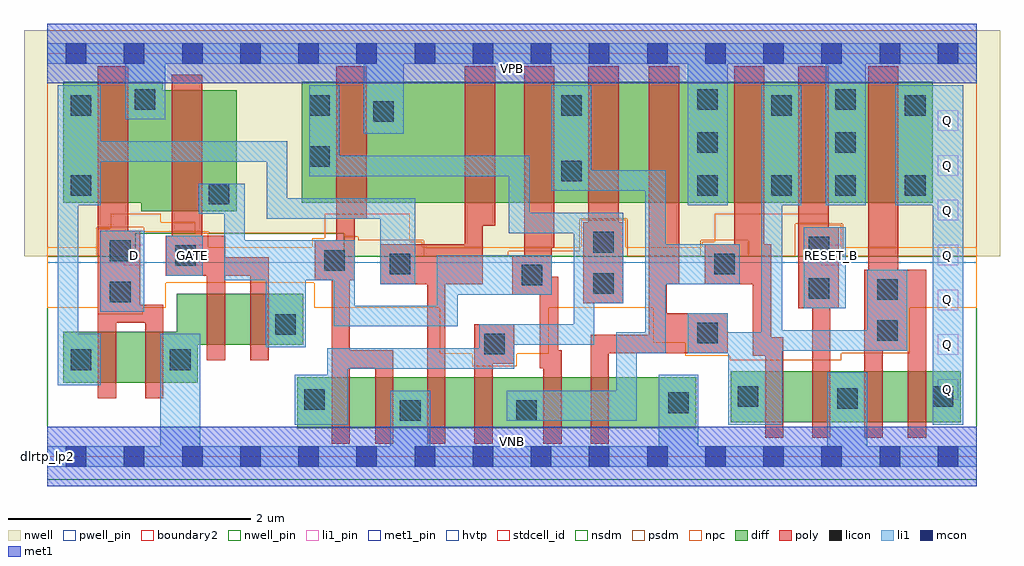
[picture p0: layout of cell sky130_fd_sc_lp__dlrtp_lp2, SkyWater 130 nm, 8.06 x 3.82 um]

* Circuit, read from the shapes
.subckt sky130_fd_sc_lp__dlrtp_lp2 D GATE Q RESET_B VGND VNB VPB VPWR
XM1 n1 D n2 VNB sky130_fd_pr__nfet_01v8 w=0.42 l=0.15
XM2 VGND D n1 VNB sky130_fd_pr__nfet_01v8 w=0.42 l=0.15
XM3 n3 GATE VGND VNB sky130_fd_pr__nfet_01v8 w=0.42 l=0.15
XM4 n4 GATE n3 VNB sky130_fd_pr__nfet_01v8 w=0.42 l=0.15
XM5 n5 n4 n6 VNB sky130_fd_pr__nfet_01v8 w=0.42 l=0.15
XM6 VGND n4 n5 VNB sky130_fd_pr__nfet_01v8 w=0.42 l=0.15
XM7 n7 n2 VGND VNB sky130_fd_pr__nfet_01v8 w=0.42 l=0.15
XM8 n8 n6 n7 VNB sky130_fd_pr__nfet_01v8 w=0.42 l=0.15
XM9 n9 n4 n8 VNB sky130_fd_pr__nfet_01v8 w=0.42 l=0.15
XM10 VGND n10 n9 VNB sky130_fd_pr__nfet_01v8 w=0.42 l=0.15
XM11 n11 n8 n10 VNB sky130_fd_pr__nfet_01v8 w=0.42 l=0.15
XM12 VGND RESET_B n11 VNB sky130_fd_pr__nfet_01v8 w=0.42 l=0.15
XM13 n12 n10 VGND VNB sky130_fd_pr__nfet_01v8 w=0.42 l=0.15
XM14 Q n10 n12 VNB sky130_fd_pr__nfet_01v8 w=0.42 l=0.15
XM15 VPWR D n2 VPB sky130_fd_pr__pfet_01v8_hvt w=1 l=0.25
XM16 n4 GATE VPWR VPB sky130_fd_pr__pfet_01v8_hvt w=1 l=0.25
XM17 VPWR n4 n6 VPB sky130_fd_pr__pfet_01v8_hvt w=1 l=0.25
XM18 n13 n2 VPWR VPB sky130_fd_pr__pfet_01v8_hvt w=1 l=0.25
XM19 n8 n4 n13 VPB sky130_fd_pr__pfet_01v8_hvt w=1 l=0.25
XM20 n14 n6 n8 VPB sky130_fd_pr__pfet_01v8_hvt w=1 l=0.25
XM21 VPWR n10 n14 VPB sky130_fd_pr__pfet_01v8_hvt w=1 l=0.25
XM22 n10 n8 VPWR VPB sky130_fd_pr__pfet_01v8_hvt w=1 l=0.25
XM23 VPWR RESET_B n10 VPB sky130_fd_pr__pfet_01v8_hvt w=1 l=0.25
XM24 Q n10 VPWR VPB sky130_fd_pr__pfet_01v8_hvt w=1 l=0.25
.ends

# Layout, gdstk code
import gdstk
lib = gdstk.Library(unit=1e-6, precision=1e-09)
def R(c, l, rs):  # rectangles x0, y0, x1, y1
    for r in rs: c.add(gdstk.rectangle(r[:2], r[2:], *l))
def A(c, l, x, y, w, h, nx, ny, dx, dy):  # array of equal rectangles
    R(c, l, [(x+i*dx, y+j*dy, x+i*dx+w, y+j*dy+h) for i in range(nx) for j in range(ny)])
def P(c, l, *ps):  # polygons
    for p in ps: c.add(gdstk.Polygon(p, *l))
nwell_pin = (64, 16)
nwell = (64, 20)
diff = (65, 20)
poly = (66, 20)
licon = (66, 44)
li1_pin = (67, 16)
li1 = (67, 20)
mcon = (67, 44)
met1_pin = (68, 16)
met1 = (68, 20)
hvtp = (78, 44)
stdcell_id = (81, 4)
nsdm = (93, 44)
psdm = (94, 20)
npc = (95, 20)
pwell_pin = (122, 16)
boundary2 = (236, 0)

sky130_fd_sc_lp__dlrtp_l = lib.new_cell('sky130_fd_sc_lp__dlrtp_lp2')
R(sky130_fd_sc_lp__dlrtp_l, nwell_pin, [(0,3.085,7.68,3.33)])
P(sky130_fd_sc_lp__dlrtp_l, nwell, [(7.87,3.52),(-0.19,3.52),(-0.19,1.655),(0.73,1.655),(0.73,1.845),(2.455,1.845),(2.455,1.655),(7.87,1.655)])
R(sky130_fd_sc_lp__dlrtp_l, diff, [(2.065,0.235,5.36,0.655), (5.645,0.285,7.545,0.705), (2.105,2.095,7.315,3.095)])
P(sky130_fd_sc_lp__dlrtp_l, diff, [(1.565,3.025),(0.955,3.025),(0.955,3.095),(0.135,3.095),(0.135,2.095),(0.78,2.095),(0.78,2.025),(1.565,2.025)],
  [(2.115,1.345),(1.07,1.345),(1.07,1.03),(0.135,1.03),(0.135,0.61),(1.245,0.61),(1.245,0.925),(2.115,0.925)])
P(sky130_fd_sc_lp__dlrtp_l, poly, [(0.96,1.255),(0.77,1.255),(0.77,1.865),(0.67,1.865),(0.67,3.225),(0.42,3.225),(0.42,0.48),(0.57,0.48),(0.57,1.105),(0.81,1.105),(0.81,0.48),(0.96,0.48)],
  [(1.83,1.645),(1.47,1.645),(1.47,1.825),(1.28,1.825),(1.28,3.155),(1.03,3.155),(1.03,1.825),(0.98,1.825),(0.98,1.495),(1.32,1.495),(1.32,0.795),(1.47,0.795),(1.47,1.495),(1.68,1.495),(1.68,0.795),(1.83,0.795)],
  [(2.86,0.88),(2.5,0.88),(2.5,1.455),(2.54,1.455),(2.54,1.965),(2.64,1.965),(2.64,3.225),(2.39,3.225),(2.39,1.785),(2.21,1.785),(2.21,1.455),(2.35,1.455),(2.35,0.105),(2.5,0.105),(2.5,0.73),(2.71,0.73),(2.71,0.105),(2.86,0.105)],
  [(3.7,3.225),(3.45,3.225),(3.45,1.755),(2.75,1.755),(2.75,1.425),(3.14,1.425),(3.14,0.105),(3.29,0.105),(3.29,1.425),(3.6,1.425),(3.6,1.905),(3.7,1.905)],
  [(3.86,1.095),(3.53,1.095),(3.53,0.105),(3.68,0.105),(3.68,0.765),(3.86,0.765)],
  [(4.25,0.88),(4.22,0.88),(4.22,1.485),(4.17,1.485),(4.17,1.725),(4.19,1.725),(4.19,3.225),(3.94,3.225),(3.94,1.665),(3.84,1.665),(3.84,1.335),(4.07,1.335),(4.07,0.73),(4.1,0.73),(4.1,0.105),(4.25,0.105)],
  [(4.76,1.935),(4.72,1.935),(4.72,3.225),(4.47,3.225),(4.47,1.935),(4.43,1.935),(4.43,1.265),(4.76,1.265)],
  [(5.62,1.185),(5.12,1.185),(5.12,1.425),(5.22,1.425),(5.22,3.225),(4.97,3.225),(4.97,1.005),(4.49,1.005),(4.49,0.105),(4.64,0.105),(4.64,0.855),(5.62,0.855)],
  [(6.08,0.985),(5.98,0.985),(5.98,1.755),(5.925,1.755),(5.925,3.225),(5.675,3.225),(5.675,1.755),(5.43,1.755),(5.43,1.425),(5.83,1.425),(5.83,0.835),(5.93,0.835),(5.93,0.155),(6.08,0.155)],
  [(6.54,1.895),(6.455,1.895),(6.455,3.225),(6.205,3.225),(6.205,1.225),(6.32,1.225),(6.32,0.155),(6.47,0.155),(6.47,1.225),(6.54,1.225)],
  [(7.26,1.545),(7.03,1.545),(7.03,3.225),(6.78,3.225),(6.78,1.545),(6.75,1.545),(6.75,0.155),(6.9,0.155),(6.9,0.875),(7.11,0.875),(7.11,0.155),(7.26,0.155)])
A(sky130_fd_sc_lp__dlrtp_l, licon, 5.37, 2.155, 0.17, 0.17, 1, 3, 0, 0.355)
A(sky130_fd_sc_lp__dlrtp_l, licon, 6.51, 2.155, 0.17, 0.17, 1, 3, 0, 0.355)
R(sky130_fd_sc_lp__dlrtp_l, licon, [(2.915,0.295,3.085,0.465), (3.875,0.295,4.045,0.465), (5.13,0.36,5.3,0.53), (2.125,0.385,2.295,0.555), (6.525,0.395,6.695,0.565), (5.705,0.41,5.875,0.58), (7.315,0.41,7.485,0.58), (0.195,0.715,0.365,0.885), (1.015,0.715,1.185,0.885), (3.61,0.845,3.78,1.015), (5.37,0.935,5.54,1.105), (6.855,0.955,7.025,1.125), (1.885,1.005,2.055,1.175), (0.52,1.275,0.69,1.445), (6.855,1.295,7.025,1.465), (6.29,1.305,6.46,1.475), (4.51,1.345,4.68,1.515), (3.92,1.415,4.09,1.585), (2.83,1.505,3,1.675), (5.51,1.505,5.68,1.675), (2.29,1.535,2.46,1.705), (1.06,1.575,1.23,1.745), (0.52,1.615,0.69,1.785), (6.29,1.645,6.46,1.815), (4.51,1.685,4.68,1.855), (1.335,2.085,1.505,2.255), (0.195,2.155,0.365,2.325), (5.98,2.155,6.15,2.325), (7.085,2.155,7.255,2.325), (4.245,2.275,4.415,2.445), (2.165,2.395,2.335,2.565), (2.695,2.765,2.865,2.935), (0.195,2.815,0.365,2.985), (2.165,2.815,2.335,2.985), (4.245,2.815,4.415,2.985), (5.98,2.815,6.15,2.985), (7.085,2.815,7.255,2.985), (0.725,2.865,0.895,3.035)])
A(sky130_fd_sc_lp__dlrtp_l, li1_pin, 7.355, 0.47, 0.17, 0.17, 1, 7, 0, 0.37)
R(sky130_fd_sc_lp__dlrtp_l, li1_pin, [(0.635,1.58,0.805,1.75), (1.115,1.58,1.285,1.75), (6.395,1.58,6.565,1.75)])
R(sky130_fd_sc_lp__dlrtp_l, li1, [(0.44,1.195,0.805,1.865), (6.25,1.225,6.595,1.895), (0.985,1.495,1.285,1.825)])
P(sky130_fd_sc_lp__dlrtp_l, li1, [(2.615,2.665),(2.615,3.245),(0.975,3.245),(0.975,2.785),(0.645,2.785),(0.645,3.245),(0,3.245),(0,3.415),(7.68,3.415),(7.68,3.245),(6.76,3.245),(6.76,2.075),(6.43,2.075),(6.43,3.245),(5.62,3.245),(5.62,2.075),(5.29,2.075),(5.29,3.245),(2.945,3.245),(2.945,2.665)],
  [(5.05,0.085),(5.05,0.675),(5.38,0.675),(5.38,0.085),(6.445,0.085),(6.445,0.695),(6.775,0.695),(6.775,0.085),(7.68,0.085),(7.68,-0.085),(0,-0.085),(0,0.085),(0.935,0.085),(0.935,1.015),(1.265,1.015),(1.265,0.085),(2.835,0.085),(2.835,0.545),(3.165,0.545),(3.165,0.085)],
  [(1.985,2.135),(3.04,2.135),(3.04,1.425),(2.75,1.425),(2.75,1.965),(1.815,1.965),(1.815,2.435),(0.445,2.435),(0.445,2.075),(0.26,2.075),(0.26,1.015),(0.445,1.015),(0.445,0.59),(0.09,0.59),(0.09,3.065),(0.445,3.065),(0.445,2.605),(1.985,2.605)],
  [(3.795,0.295),(3.795,0.545),(4.7,0.545),(4.7,1.025),(4.94,1.025),(4.94,2.195),(4.165,2.195),(4.165,3.065),(4.495,3.065),(4.495,2.365),(5.11,2.365),(5.11,1.755),(5.72,1.755),(5.72,1.425),(5.11,1.425),(5.11,0.855),(4.87,0.855),(4.87,0.295)],
  [(1.465,2.005),(1.255,2.005),(1.255,2.255),(1.635,2.255),(1.635,1.785),(2.54,1.785),(2.54,1.245),(3.22,1.245),(3.22,1.665),(4.17,1.665),(4.17,1.335),(3.39,1.335),(3.39,1.075),(2.37,1.075),(2.37,1.455),(2.135,1.455),(2.135,0.905),(1.805,0.905),(1.805,1.455),(1.465,1.455)],
  [(6.07,1.045),(6.775,1.045),(6.775,1.545),(7.105,1.545),(7.105,0.875),(6.07,0.875),(6.07,0.265),(5.625,0.265),(5.625,0.855),(5.29,0.855),(5.29,1.185),(5.62,1.185),(5.62,1.025),(5.9,1.025),(5.9,3.065),(6.23,3.065),(6.23,2.075),(6.07,2.075)],
  [(3.815,1.845),(3.815,2.315),(2.165,2.315),(2.165,3.065),(2.415,3.065),(2.415,2.485),(3.985,2.485),(3.985,2.015),(4.76,2.015),(4.76,1.265),(4.52,1.265),(4.52,0.925),(3.86,0.925),(3.86,0.725),(2.485,0.725),(2.485,0.265),(2.045,0.265),(2.045,0.675),(2.315,0.675),(2.315,0.895),(3.57,0.895),(3.57,1.095),(4.35,1.095),(4.35,1.845)],
  [(7.315,0.265),(7.315,2.075),(7.005,2.075),(7.005,3.065),(7.565,3.065),(7.565,0.265)])
A(sky130_fd_sc_lp__dlrtp_l, mcon, 0.155, -0.085, 0.17, 0.17, 16, 2, 0.48, 3.33)
R(sky130_fd_sc_lp__dlrtp_l, met1_pin, [(0,0,7.68,0.245), (0,3.085,7.68,3.33)])
R(sky130_fd_sc_lp__dlrtp_l, met1, [(0,-0.245,7.68,0.245), (0,3.085,7.68,3.575)])
R(sky130_fd_sc_lp__dlrtp_l, hvtp, [(0,1.6,7.68,3.33)])
R(sky130_fd_sc_lp__dlrtp_l, stdcell_id, [(0,0,7.68,3.33)])
P(sky130_fd_sc_lp__dlrtp_l, nsdm, [(7.68,1.655),(2.455,1.655),(2.455,1.845),(0.73,1.845),(0.73,1.655),(0,1.655),(0,-0.19),(7.68,-0.19)])
P(sky130_fd_sc_lp__dlrtp_l, psdm, [(7.68,3.52),(0,3.52),(0,1.655),(0.41,1.655),(0.41,1.895),(0.8,1.895),(0.8,1.855),(1.34,1.855),(1.34,1.845),(2.455,1.845),(2.455,1.815),(2.57,1.815),(2.57,1.785),(3.11,1.785),(3.11,1.655),(3.81,1.655),(3.81,1.695),(4.4,1.695),(4.4,1.965),(4.79,1.965),(4.79,1.655),(5.4,1.655),(5.4,1.785),(5.79,1.785),(5.79,1.655),(6.18,1.655),(6.18,1.925),(6.57,1.925),(6.57,1.655),(7.68,1.655)])
P(sky130_fd_sc_lp__dlrtp_l, npc, [(7.68,1.73),(6.56,1.73),(6.56,1.915),(6.455,1.915),(6.455,2.005),(5.515,2.005),(5.515,1.775),(5.41,1.775),(5.41,1.73),(4.78,1.73),(4.78,1.955),(4.41,1.955),(4.41,1.73),(3.1,1.73),(3.1,1.775),(2.995,1.775),(2.995,2.005),(2.295,2.005),(2.295,1.805),(2.19,1.805),(2.19,1.73),(1.33,1.73),(1.33,1.845),(1.225,1.845),(1.225,1.935),(0.94,1.935),(0.94,2.005),(0.525,2.005),(0.525,1.885),(0.42,1.885),(0.42,1.73),(0,1.73),(0,1.23),(0.42,1.23),(0.42,1.175),(0.79,1.175),(0.79,1.23),(0.98,1.23),(0.98,1.435),(2.205,1.435),(2.205,1.23),(3.245,1.23),(3.245,0.85),(3.51,0.85),(3.51,0.745),(3.88,0.745),(3.88,0.85),(4.145,0.85),(4.145,1.23),(5.005,1.23),(5.005,0.94),(5.27,0.94),(5.27,0.835),(5.64,0.835),(5.64,0.795),(6.56,0.795),(6.56,0.855),(7.125,0.855),(7.125,1.23),(7.68,1.23)])
R(sky130_fd_sc_lp__dlrtp_l, pwell_pin, [(0,0,7.68,0.245)])
R(sky130_fd_sc_lp__dlrtp_l, boundary2, [(0,0,7.68,3.33)])
sky130_fd_sc_lp__dlrtp_l.add(gdstk.Label('VNB', (3.84,0.123), layer=64, texttype=59))
sky130_fd_sc_lp__dlrtp_l.add(gdstk.Label('VPB', (3.84,3.208), layer=64, texttype=5))
sky130_fd_sc_lp__dlrtp_l.add(gdstk.Label('dlrtp_lp2', (0,0), layer=83, texttype=44))
sky130_fd_sc_lp__dlrtp_l.add(gdstk.Label('VPWR', (3.84,3.208), layer=68, texttype=5))
sky130_fd_sc_lp__dlrtp_l.add(gdstk.Label('VGND', (3.84,0.123), layer=68, texttype=5))
sky130_fd_sc_lp__dlrtp_l.add(gdstk.Label('D', (0.72,1.665), layer=67, texttype=5))
sky130_fd_sc_lp__dlrtp_l.add(gdstk.Label('RESET_B', (6.48,1.665), layer=67, texttype=5))
sky130_fd_sc_lp__dlrtp_l.add(gdstk.Label('GATE', (1.2,1.665), layer=67, texttype=5))
sky130_fd_sc_lp__dlrtp_l.add(gdstk.Label('Q', (7.44,0.555), layer=67, texttype=5))
sky130_fd_sc_lp__dlrtp_l.add(gdstk.Label('Q', (7.44,0.925), layer=67, texttype=5))
sky130_fd_sc_lp__dlrtp_l.add(gdstk.Label('Q', (7.44,1.295), layer=67, texttype=5))
sky130_fd_sc_lp__dlrtp_l.add(gdstk.Label('Q', (7.44,1.665), layer=67, texttype=5))
sky130_fd_sc_lp__dlrtp_l.add(gdstk.Label('Q', (7.44,2.035), layer=67, texttype=5))
sky130_fd_sc_lp__dlrtp_l.add(gdstk.Label('Q', (7.44,2.405), layer=67, texttype=5))
sky130_fd_sc_lp__dlrtp_l.add(gdstk.Label('Q', (7.44,2.775), layer=67, texttype=5))

lib.write_gds('sky130_fd_sc_lp__dlrtp_lp2.gds')
